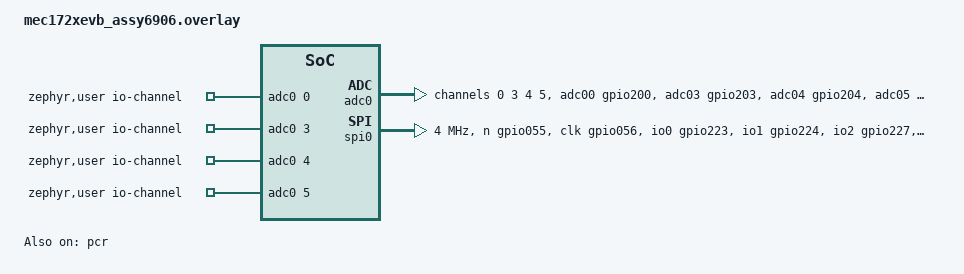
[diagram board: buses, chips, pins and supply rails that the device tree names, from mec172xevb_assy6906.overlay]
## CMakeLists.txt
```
# SPDX-License-Identifier: Apache-2.0

cmake_minimum_required(VERSION 3.20.0)
find_package(Zephyr REQUIRED HINTS $ENV{ZEPHYR_BASE})
project(mec172x_pm_device)

FILE(GLOB app_sources src/*.c)
target_sources(app PRIVATE ${app_sources})
```

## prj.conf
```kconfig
# Enable config log
CONFIG_LOG=y
CONFIG_LOG_MODE_MINIMAL=y

CONFIG_SERIAL=y
CONFIG_UART_CONSOLE=y

CONFIG_ADC=y

CONFIG_SPI=y
CONFIG_SPI_XEC_QMSPI_LDMA=y

CONFIG_PM_DEVICE=y
#CONFIG_SOC_MEC172X_TEST_CLK_OUT=y
```

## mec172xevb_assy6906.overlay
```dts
/*
 * Copyright (c) 2021 Nordic Semiconductor ASA
 *
 * SPDX-License-Identifier: Apache-2.0
 */

/ {
	zephyr,user {
		io-channels =  <&adc0 0>, <&adc0 3>, <&adc0 4>, <&adc0 5>;
	};
};

/*
&uart1 {
	status = "disabled";
};
*/

&pcr {
	status = "okay";
	pll-32k-src = <MCHP_XEC_PLL_CLK32K_SRC_SIL_OSC>;
	periph-32k-src = <MCHP_XEC_PERIPH_CLK32K_SRC_SO_SO>;

	/* debug only, not using 32KHZ_IN pin */
	pinctrl-0 = <&tst_clk_out_gpio060>;

	pinctrl-names = "default";
};

&espi0 {
	status = "disabled";
};

&kbc0 {
	status = "disabled";
};

&acpi_ec0 {
	status = "disabled";
};

&acpi_ec1 {
	status = "disabled";
};

&emi0 {
	status = "disabled";
};

&p80bd0 {
	status = "disabled";
};

&i2c_smb_0 {
	status = "disabled";
};

&i2c_smb_1 {
	status = "disabled";
};

&i2c_smb_2 {
	status = "disabled";
};

&kscan0 {
	status = "disabled";
};

&pwm0 {
	status = "disabled";
};

&tach0 {
	status = "disabled";
};

&ps2_0 {
	status = "disabled";
};

&timer5 {
	status = "disabled";
};

&pinctrl {
	adc00_gpio200_sleep: adc00_gpio200_sleep {
		pinmux = < MCHP_XEC_PINMUX(0200, MCHP_AF1) >;
		low-power-enable;
	};
	adc03_gpio203_sleep: adc03_gpio203_sleep {
		pinmux = < MCHP_XEC_PINMUX(0203, MCHP_AF1) >;
		low-power-enable;
	};
	adc04_gpio204_sleep: adc04_gpio204_sleep {
		pinmux = < MCHP_XEC_PINMUX(0204, MCHP_AF1) >;
		low-power-enable;
	};
	adc05_gpio205_sleep: adc05_gpio205_sleep {
		pinmux = < MCHP_XEC_PINMUX(0205, MCHP_AF1) >;
		low-power-enable;
	};

	shd_cs0_n_gpio055_sleep: shd_cs0_n_gpio055_sleep {
		pinmux = < MCHP_XEC_PINMUX(055, MCHP_AF2) >;
		low-power-enable;
	};
	shd_clk_gpio056_sleep: shd_clk_gpio056_sleep {
		pinmux = < MCHP_XEC_PINMUX(056, MCHP_AF2) >;
		low-power-enable;
	};
	shd_io0_gpio223_sleep: shd_io0_gpio223_sleep {
		pinmux = < MCHP_XEC_PINMUX(0223, MCHP_AF1) >;
		low-power-enable;
	};
	shd_io1_gpio224_sleep: shd_io1_gpio224_sleep {
		pinmux = < MCHP_XEC_PINMUX(0224, MCHP_AF2) >;
		low-power-enable;
	};
	shd_io2_gpio227_sleep: shd_io2_gpio227_sleep {
		pinmux = < MCHP_XEC_PINMUX(0227, MCHP_AF1) >;
		low-power-enable;
	};
	shd_io3_gpio016_sleep: shd_io3_gpio016_sleep {
		pinmux = < MCHP_XEC_PINMUX(016, MCHP_AF2) >;
		low-power-enable;
	};
};

&adc0 {
	#address-cells = <1>;
	#size-cells = <0>;

	channel@0 {
		reg = <0>;
		zephyr,gain = "ADC_GAIN_1";
		zephyr,reference = "ADC_REF_INTERNAL";
		zephyr,acquisition-time = <0>;
		zephyr,resolution = <12>;
	};
	channel@3 {
		reg = <3>;
		zephyr,gain = "ADC_GAIN_1";
		zephyr,reference = "ADC_REF_INTERNAL";
		zephyr,acquisition-time = <0>;
		zephyr,resolution = <12>;
	};
	channel@4 {
		reg = <4>;
		zephyr,gain = "ADC_GAIN_1";
		zephyr,reference = "ADC_REF_INTERNAL";
		zephyr,acquisition-time = <0>;
		zephyr,resolution = <12>;
	};
	channel@5 {
		reg = <5>;
		zephyr,gain = "ADC_GAIN_1";
		zephyr,reference = "ADC_REF_INTERNAL";
		zephyr,acquisition-time = <0>;
		zephyr,resolution = <12>;
	};

	status = "okay";
	pinctrl-0 = <&adc00_gpio200 &adc03_gpio203
		     &adc04_gpio204 &adc05_gpio205>;
	pinctrl-1 = <&adc00_gpio200_sleep &adc03_gpio203_sleep
		     &adc04_gpio204_sleep &adc05_gpio205_sleep>;
	pinctrl-names = "default", "sleep";
};

&spi0 {
	status = "okay";
	compatible = "microchip,xec-qmspi-ldma";
	clock-frequency = <4000000>;
	lines = <4>;
	chip-select = <0>;
	port-sel = <0>; /* Shared SPI */

	pinctrl-0 = < &shd_cs0_n_gpio055
		      &shd_clk_gpio056
		      &shd_io0_gpio223
		      &shd_io1_gpio224
		      &shd_io2_gpio227
		      &shd_io3_gpio016 >;
	pinctrl-1 = < &shd_cs0_n_gpio055_sleep
		      &shd_clk_gpio056_sleep
		      &shd_io0_gpio223_sleep
		      &shd_io1_gpio224_sleep
		      &shd_io2_gpio227_sleep
		      &shd_io3_gpio016_sleep >;
	pinctrl-names = "default", "sleep";
};
```

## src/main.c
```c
/*
 * Copyright (c) 2022 Microchip Technology Inc.
 *
 * SPDX-License-Identifier: Apache-2.0
 */

#include <errno.h>
#include <soc.h>
#include <zephyr/kernel.h>
#include <zephyr/device.h>
#include <zephyr/drivers/adc.h>
#include <zephyr/drivers/spi.h>
#include <zephyr/logging/log_ctrl.h>
#include <zephyr/logging/log.h>
LOG_MODULE_DECLARE(pm_device, CONFIG_SPI_LOG_LEVEL);

#if !DT_NODE_EXISTS(DT_PATH(zephyr_user)) || \
	!DT_NODE_HAS_PROP(DT_PATH(zephyr_user), io_channels)
#error "No suitable devicetree overlay specified"
#endif

#define DT_SPEC_AND_COMMA(node_id, prop, idx) \
	ADC_DT_SPEC_GET_BY_IDX(node_id, idx),

/* Data of ADC io-channels specified in devicetree. */
static const struct adc_dt_spec adc_channels[] = {
	DT_FOREACH_PROP_ELEM(DT_PATH(zephyr_user), io_channels,
			     DT_SPEC_AND_COMMA)
};

void main(void)
{
	struct vci_regs * const vci = (struct vci_regs *)DT_REG_ADDR(DT_NODELABEL(vci0));
	const struct device *spi_dev;
	int err;
	int16_t buf;
	struct adc_sequence sequence = {
		.buffer = &buf,
		/* buffer size in bytes, not number of samples */
		.buffer_size = sizeof(buf),
	};

	LOG_INF("MEC172x EVB: Test Device Power Management");

	spi_dev = DEVICE_DT_GET(DT_NODELABEL(spi0));
	if (!device_is_ready(spi_dev)) {
		LOG_ERR("SPI controller device not ready!");
		return;
	}

	/* Configure channels individually prior to sampling. */
	for (size_t i = 0U; i < ARRAY_SIZE(adc_channels); i++) {
		if (!device_is_ready(adc_channels[i].dev)) {
			LOG_ERR("ADC controller device not ready\n");
			return;
		}

		err = adc_channel_setup_dt(&adc_channels[i]);
		if (err < 0) {
			LOG_ERR("Could not setup channel #%d (%d)\n", i, err);
			return;
		}
	}

	vci->CONFIG = MCHP_VCI_FW_EXT_SEL;
	vci->LATCH_EN = BIT(1); /* VCI_IN1 (GPIO_0162) connect to EVB switch S4 */
	vci->INPUT_EN = BIT(1);
	vci->LATCH_RST = BIT(1);
	vci->PEDGE_DET = BIT(1); /* clear R/WC status bit */
	vci->NEDGE_DET = BIT(1); /* clear R/WC status bit */

	LOG_INF("Pause: Shut down debugger and press EVB button S4");

	/* did we get a pulse (press and release) of button S4 ? */
	while (!((vci->PEDGE_DET & BIT(1)) && (vci->NEDGE_DET & BIT(1)))) {
		;
	}

#ifdef APP_DIS_JTAG
	struct ecs_regs * const ecs = (struct ecs_regs *)DT_REG_ADDR(DT_NODELABEL(ecs));

	ecs->DEBUG_CTRL = 0; /* disable JTAG/SWD */
#endif

	while (1) {
		LOG_INF("ADC reading:\n");
		for (size_t i = 0U; i < ARRAY_SIZE(adc_channels); i++) {
			int32_t val_mv;

			LOG_INF("- %s, channel %d: ",
				adc_channels[i].dev->name,
				adc_channels[i].channel_id);

			(void)adc_sequence_init_dt(&adc_channels[i], &sequence);

			err = adc_read(adc_channels[i].dev, &sequence);
			if (err < 0) {
				LOG_ERR("Could not read (%d)\n", err);
				continue;
			} else {
				LOG_INF("%"PRId16, buf);
			}

			/* conversion to mV may not be supported, skip if not */
			val_mv = buf;
			err = adc_raw_to_millivolts_dt(&adc_channels[i],
						       &val_mv);
			if (err < 0) {
				LOG_ERR(" (value in mV not available)\n");
			} else {
				LOG_INF(" = %"PRId32" mV\n", val_mv);
			}
		}

		/* deep sleep residency is 2000 ms in board DTS.
		 * Instruct kernel to sleep for larger value to trigger
		 * entry to suspend state.
		 */
		k_sleep(K_MSEC(3000));
	}
}
```
